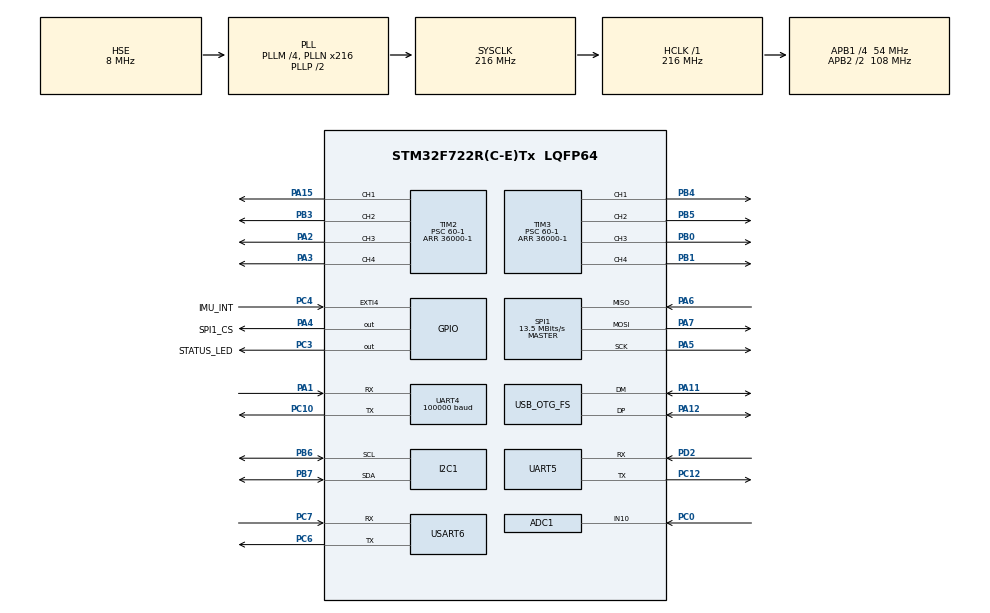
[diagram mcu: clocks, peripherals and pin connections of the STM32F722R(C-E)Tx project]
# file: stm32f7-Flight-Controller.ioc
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ADC1.Channel-5\#ChannelRegularConversion=ADC_CHANNEL_10
ADC1.ContinuousConvMode=ENABLE
ADC1.DMAContinuousRequests=ENABLE
ADC1.InjNumberOfConversion=0
ADC1.NbrOfConversionFlag=1
ADC1.Rank-5\#ChannelRegularConversion=1
ADC1.SamplingTime-5\#ChannelRegularConversion=ADC_SAMPLETIME_480CYCLES
ADC1.master=1
CORTEX_M7.default_mode_Activation=1
Dma.ADC1.2.Direction=DMA_PERIPH_TO_MEMORY
Dma.ADC1.2.FIFOMode=DMA_FIFOMODE_DISABLE
Dma.ADC1.2.Instance=DMA2_Stream4
Dma.ADC1.2.MemDataAlignment=DMA_MDATAALIGN_HALFWORD
Dma.ADC1.2.MemInc=DMA_MINC_ENABLE
Dma.ADC1.2.Mode=DMA_CIRCULAR
Dma.ADC1.2.PeriphDataAlignment=DMA_PDATAALIGN_HALFWORD
Dma.ADC1.2.PeriphInc=DMA_PINC_DISABLE
Dma.ADC1.2.Priority=DMA_PRIORITY_LOW
Dma.Request0=SPI1_RX
Dma.Request1=SPI1_TX
Dma.Request2=ADC1
Dma.Request3=UART4_RX
Dma.SPI1_RX.0.Direction=DMA_PERIPH_TO_MEMORY
Dma.SPI1_RX.0.FIFOMode=DMA_FIFOMODE_DISABLE
Dma.SPI1_RX.0.Instance=DMA2_Stream0
Dma.SPI1_RX.0.MemDataAlignment=DMA_MDATAALIGN_BYTE
Dma.SPI1_RX.0.MemInc=DMA_MINC_ENABLE
Dma.SPI1_RX.0.Mode=DMA_NORMAL
Dma.SPI1_RX.0.PeriphDataAlignment=DMA_PDATAALIGN_BYTE
Dma.SPI1_RX.0.PeriphInc=DMA_PINC_DISABLE
Dma.SPI1_RX.0.Priority=DMA_PRIORITY_LOW
Dma.SPI1_TX.1.Direction=DMA_MEMORY_TO_PERIPH
Dma.SPI1_TX.1.FIFOMode=DMA_FIFOMODE_DISABLE
Dma.SPI1_TX.1.Instance=DMA2_Stream3
Dma.SPI1_TX.1.MemDataAlignment=DMA_MDATAALIGN_BYTE
Dma.SPI1_TX.1.MemInc=DMA_MINC_ENABLE
Dma.SPI1_TX.1.Mode=DMA_NORMAL
Dma.SPI1_TX.1.PeriphDataAlignment=DMA_PDATAALIGN_BYTE
Dma.SPI1_TX.1.PeriphInc=DMA_PINC_DISABLE
Dma.SPI1_TX.1.Priority=DMA_PRIORITY_LOW
Dma.UART4_RX.3.Direction=DMA_PERIPH_TO_MEMORY
Dma.UART4_RX.3.FIFOMode=DMA_FIFOMODE_DISABLE
Dma.UART4_RX.3.Instance=DMA1_Stream2
Dma.UART4_RX.3.MemDataAlignment=DMA_MDATAALIGN_BYTE
Dma.UART4_RX.3.MemInc=DMA_MINC_ENABLE
Dma.UART4_RX.3.Mode=DMA_CIRCULAR
Dma.UART4_RX.3.PeriphDataAlignment=DMA_PDATAALIGN_BYTE
Dma.UART4_RX.3.PeriphInc=DMA_PINC_DISABLE
Dma.UART4_RX.3.Priority=DMA_PRIORITY_LOW
I2C1.Timing=0x20404768
Mcu.Family=STM32F7
Mcu.Name=STM32F722R(C-E)Tx
Mcu.Package=LQFP64
NVIC.DMA1_Stream2_IRQn=true\:0\:0\:false\:false\:true\:false\:true\:true
NVIC.DMA2_Stream0_IRQn=true\:0\:0\:false\:false\:true\:false\:true\:true
NVIC.DMA2_Stream3_IRQn=true\:0\:0\:false\:false\:true\:false\:true\:true
NVIC.DMA2_Stream4_IRQn=true\:0\:0\:false\:false\:true\:false\:true\:true
NVIC.EXTI4_IRQn=true\:0\:0\:false\:false\:true\:true\:true\:true
NVIC.OTG_FS_IRQn=true\:0\:0\:false\:false\:true\:false\:true\:true
NVIC.PriorityGroup=NVIC_PRIORITYGROUP_4
NVIC.SPI1_IRQn=true\:0\:0\:false\:false\:true\:true\:true\:true
NVIC.UART4_IRQn=true\:0\:0\:false\:false\:true\:true\:true\:true
PA1.Mode=Asynchronous
PA1.Signal=UART4_RX
PA11.Mode=Device_Only
PA11.Signal=USB_OTG_FS_DM
PA12.Mode=Device_Only
PA12.Signal=USB_OTG_FS_DP
PA13.Mode=Serial_Wire
PA13.Signal=SYS_JTMS-SWDIO
PA14.Mode=Serial_Wire
PA14.Signal=SYS_JTCK-SWCLK
PA15.Signal=S_TIM2_CH1_ETR
PA2.Signal=S_TIM2_CH3
PA3.Signal=S_TIM2_CH4
PA4.GPIO_Label=SPI1_CS
PA4.Signal=GPIO_Output
PA5.Mode=Full_Duplex_Master
PA5.Signal=SPI1_SCK
PA6.Mode=Full_Duplex_Master
PA6.Signal=SPI1_MISO
PA7.Mode=Full_Duplex_Master
PA7.Signal=SPI1_MOSI
PB0.Signal=S_TIM3_CH3
PB1.Signal=S_TIM3_CH4
PB3.Signal=S_TIM2_CH2
PB4.Signal=S_TIM3_CH1
PB5.Signal=S_TIM3_CH2
PB6.Mode=I2C
PB6.Signal=I2C1_SCL
PB7.Mode=I2C
PB7.Signal=I2C1_SDA
PC0.GPIO_Mode=GPIO_MODE_ANALOG
PC0.GPIO_PuPd=GPIO_NOPULL
PC0.Signal=ADCx_IN10
PC10.Mode=Asynchronous
PC10.Signal=UART4_TX
PC12.Mode=Asynchronous
PC12.Signal=UART5_TX
PC3.GPIO_Label=STATUS_LED
PC3.Signal=GPIO_Output
PC4.GPIO_Label=IMU_INT
PC4.GPIO_ModeDefaultEXTI=GPIO_MODE_IT_RISING
PC4.GPIO_PuPd=GPIO_NOPULL
PC4.Signal=GPXTI4
PC6.Mode=Asynchronous
PC6.Signal=USART6_TX
PC7.Mode=Asynchronous
PC7.Signal=USART6_RX
PD2.Mode=Asynchronous
PD2.Signal=UART5_RX
PH0-OSC_IN.Mode=HSE-External-Oscillator
PH0-OSC_IN.Signal=RCC_OSC_IN
PH1-OSC_OUT.Mode=HSE-External-Oscillator
PH1-OSC_OUT.Signal=RCC_OSC_OUT
ProjectManager.HeapSize=0x200
ProjectManager.StackSize=0x400
ProjectManager.TargetToolchain=STM32CubeIDE
RCC.AHBFreq_Value=216000000
RCC.APB1CLKDivider=RCC_HCLK_DIV4
RCC.APB1Freq_Value=54000000
RCC.APB1TimFreq_Value=108000000
RCC.APB2CLKDivider=RCC_HCLK_DIV2
RCC.APB2Freq_Value=108000000
RCC.APB2TimFreq_Value=216000000
RCC.CortexFreq_Value=216000000
RCC.HCLKFreq_Value=216000000
RCC.HSE_VALUE=8000000
RCC.HSI_VALUE=16000000
RCC.LSE_VALUE=32768
RCC.PLLM=4
RCC.PLLN=216
RCC.PLLQ=9
RCC.SYSCLKFreq_VALUE=216000000
RCC.SYSCLKSource=RCC_SYSCLKSOURCE_PLLCLK
RCC.USBFreq_Value=48000000
RCC.VCOOutputFreq_Value=432000000
SH.ADCx_IN10.0=ADC1_IN10,IN10
SH.S_TIM2_CH1_ETR.0=TIM2_CH1,PWM Generation1 CH1
SH.S_TIM2_CH2.0=TIM2_CH2,PWM Generation2 CH2
SH.S_TIM2_CH3.0=TIM2_CH3,PWM Generation3 CH3
SH.S_TIM2_CH4.0=TIM2_CH4,PWM Generation4 CH4
SH.S_TIM3_CH1.0=TIM3_CH1,PWM Generation1 CH1
SH.S_TIM3_CH2.0=TIM3_CH2,PWM Generation2 CH2
SH.S_TIM3_CH3.0=TIM3_CH3,PWM Generation3 CH3
SH.S_TIM3_CH4.0=TIM3_CH4,PWM Generation4 CH4
SPI1.BaudRatePrescaler=SPI_BAUDRATEPRESCALER_8
SPI1.CalculateBaudRate=13.5 MBits/s
SPI1.DataSize=SPI_DATASIZE_8BIT
SPI1.Direction=SPI_DIRECTION_2LINES
SPI1.Mode=SPI_MODE_MASTER
SPI1.VirtualType=VM_MASTER
TIM2.Channel-PWM\ Generation1\ CH1=TIM_CHANNEL_1
TIM2.Channel-PWM\ Generation2\ CH2=TIM_CHANNEL_2
TIM2.Channel-PWM\ Generation3\ CH3=TIM_CHANNEL_3
TIM2.Channel-PWM\ Generation4\ CH4=TIM_CHANNEL_4
TIM2.Period=36000-1
TIM2.Prescaler=60-1
TIM3.Channel-PWM\ Generation1\ CH1=TIM_CHANNEL_1
TIM3.Channel-PWM\ Generation2\ CH2=TIM_CHANNEL_2
TIM3.Channel-PWM\ Generation3\ CH3=TIM_CHANNEL_3
TIM3.Channel-PWM\ Generation4\ CH4=TIM_CHANNEL_4
TIM3.Period=36000-1
TIM3.Prescaler=60-1
UART4.BaudRate=100000
UART4.Mode=MODE_RX
UART4.Parity=PARITY_EVEN
UART4.RxPinLevelInvertParam=UART_ADVFEATURE_RXINV_ENABLE
UART4.StopBits=UART_STOPBITS_2
UART4.WordLength=WORDLENGTH_9B
USART6.VirtualMode=VM_ASYNC
USB_DEVICE.CLASS_NAME_FS=CDC
USB_DEVICE.VirtualMode-CDC_FS=Cdc
USB_DEVICE.VirtualModeFS=Cdc_FS
USB_OTG_FS.VirtualMode=Device_Only
VP_TIM2_VS_ClockSourceINT.Mode=Internal
VP_TIM3_VS_ClockSourceINT.Mode=Internal
VP_USB_DEVICE_VS_USB_DEVICE_CDC_FS.Mode=CDC_FS
board=custom

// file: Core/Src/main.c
/* USER CODE BEGIN Header */
/**
  ******************************************************************************
  * @file           : main.c
  * @brief          : Main program body
  ******************************************************************************
  * @attention
  *
  * Copyright (c) 2025 STMicroelectronics.
  * All rights reserved.
  *
  * This software is licensed under terms that can be found in the LICENSE file
  * in the root directory of this software component.
  * If no LICENSE file comes with this software, it is provided AS-IS.
  *
  ******************************************************************************
  */
/* USER CODE END Header */
#include "main.h"
#include "usb_device.h"

/* USER CODE BEGIN Includes */

#include <math.h>
#include "usbd_cdc_if.h"
#include "ICM42688P.h"
#include "Outputs.h"
#include "Sbus.h"
//#include "Quaternion.h"
#include "Flight_Modes.h"
#include "AHRS.h"
#include "PIDs.h"
#include "Battery.h"
#include "Parameters.h"
#include "USB.h"

/* USER CODE END Includes */

/* USER CODE BEGIN PD */

#define DELTA_T 0.01

/* USER CODE END PD */

ADC_HandleTypeDef hadc1;
DMA_HandleTypeDef hdma_adc1;

I2C_HandleTypeDef hi2c1;

SPI_HandleTypeDef hspi1;
DMA_HandleTypeDef hdma_spi1_rx;
DMA_HandleTypeDef hdma_spi1_tx;

TIM_HandleTypeDef htim2;
TIM_HandleTypeDef htim3;

UART_HandleTypeDef huart4;
UART_HandleTypeDef huart5;
UART_HandleTypeDef huart6;
DMA_HandleTypeDef hdma_uart4_rx;

void SystemClock_Config(void);
static void MPU_Config(void);
static void MX_GPIO_Init(void);
static void MX_DMA_Init(void);
static void MX_ADC1_Init(void);
static void MX_I2C1_Init(void);
static void MX_SPI1_Init(void);
static void MX_TIM2_Init(void);
static void MX_TIM3_Init(void);
static void MX_UART4_Init(void);
static void MX_UART5_Init(void);
static void MX_USART6_UART_Init(void);

/* USER CODE BEGIN 0 */

Sbus receiver;
ICM42688 imu;

extern Battery battery;

char usbBuffer[50];

extern Vec3 attitude;
extern Vec3 ref;
extern uint16_t outputs[8];
extern float functions[10];

extern Flight_Mode flight_mode;

uint32_t timer = 0;
extern Arming arming;
extern ParameterTable parameters, default_parameters;
extern uint8_t usbRxBuffer[20];

void HAL_UARTEx_RxEventCallback(UART_HandleTypeDef *huart, uint16_t Size){
	if(huart->Instance == huart4.Instance){

		if(receiver.buffer[0] == 0x0F && receiver.buffer[24] == 0x00) {
			Sbus_decode(&receiver);
			receiver.dataRdy = 1;
		}
		else{
			receiver.dataRdy = 0;
			HAL_UART_AbortReceive(&huart4);
			HAL_UARTEx_ReceiveToIdle_DMA(&huart4, receiver.buffer, 25);
		}
	}
}

void HAL_GPIO_EXTI_Callback(uint16_t GPIO_Pin){

	if(GPIO_Pin == IMU_INT_Pin){
		if(imu.ready){
			ICM42688_Read_DMA(&imu);
		}

	}

}

void HAL_SPI_TxRxCpltCallback(SPI_HandleTypeDef *hspi){
	if(hspi->Instance == hspi1.Instance){
		HAL_GPIO_WritePin(SPI1_CS_GPIO_Port, SPI1_CS_Pin, GPIO_PIN_SET);

		ICM42688_Process_Buffer(&imu);
		imu.dataRdy = 1;
	}
}

/* USER CODE END 0 */

int main(void)
{

  /* MPU Configuration--------------------------------------------------------*/
  MPU_Config();

  /* MCU Configuration--------------------------------------------------------*/

  /* Reset of all peripherals, Initializes the Flash interface and the Systick. */
  HAL_Init();

  /* Configure the system clock */
  SystemClock_Config();

  /* Initialize all configured peripherals */
  MX_GPIO_Init();
  MX_DMA_Init();
  MX_ADC1_Init();
  MX_I2C1_Init();
  MX_SPI1_Init();
  MX_TIM2_Init();
  MX_TIM3_Init();
  MX_UART4_Init();
  MX_UART5_Init();
  MX_USART6_UART_Init();
  MX_USB_DEVICE_Init();
  /* USER CODE BEGIN 2 */

  //Start Sbus Reception and Sync
  if(Sbus_Begin(&huart4, &receiver) != HAL_OK) {
	  Error_Handler();
  }

  //Start IMU, configure ranges, filters & interrupts
  if(ICM42688_Begin(&imu, &hspi1) != HAL_OK) {
	  Error_Handler();
  }

  //Start DMA Read for Vbat ADC
  if(Battery_Begin(&hadc1) != HAL_OK) {
	  Error_Handler();
  }

  //Configure output timers
  if(Output_Begin(&htim2, &htim3) != HAL_OK) {
	  Error_Handler();
  }

  //Load Parameters from FLASH
  if(Load_Parameters(&parameters) != HAL_OK){
	  Save_Parameters(&default_parameters);
	  if(Load_Parameters(&parameters) != HAL_OK){
		  Error_Handler();
	  }
  }

  /* USER CODE END 2 */

  /* Infinite loop */
  /* USER CODE BEGIN WHILE */
  while (1)
  {

	if ((HAL_GetTick() - timer) >= DELTA_T*1000) {

		Battery_Update();

		if(imu.dataRdy){

			AHRS_Update_Complementary_Filter(imu.gyro, imu.accel, 0.8, DELTA_T);

		}

		if(receiver.dataRdy){

			Process_Input(receiver);

			if(flight_mode == ACRO_MODE) Acro_Mode(receiver, DELTA_T);
			else if (flight_mode == STABILIZED_MODE) Stabilized_Mode(receiver, DELTA_T);
			else if(flight_mode == MANUAL_MODE) Manual_Mode(receiver);

		}

		Output_Update(&htim2, &htim3);

		timer += DELTA_T*1000;

	}

    /* USER CODE END WHILE */

  }
}

void SystemClock_Config(void)
{
  RCC_OscInitTypeDef RCC_OscInitStruct = {0};
  RCC_ClkInitTypeDef RCC_ClkInitStruct = {0};

  /** Configure the main internal regulator output voltage
  */
  __HAL_RCC_PWR_CLK_ENABLE();
  __HAL_PWR_VOLTAGESCALING_CONFIG(PWR_REGULATOR_VOLTAGE_SCALE1);

  /** Initializes the RCC Oscillators according to the specified parameters
  * in the RCC_OscInitTypeDef structure.
  */
  RCC_OscInitStruct.OscillatorType = RCC_OSCILLATORTYPE_HSE;
  RCC_OscInitStruct.HSEState = RCC_HSE_ON;
  RCC_OscInitStruct.PLL.PLLState = RCC_PLL_ON;
  RCC_OscInitStruct.PLL.PLLSource = RCC_PLLSOURCE_HSE;
  RCC_OscInitStruct.PLL.PLLM = 4;
  RCC_OscInitStruct.PLL.PLLN = 216;
  RCC_OscInitStruct.PLL.PLLP = RCC_PLLP_DIV2;
  RCC_OscInitStruct.PLL.PLLQ = 9;
  if (HAL_RCC_OscConfig(&RCC_OscInitStruct) != HAL_OK)
  {
    Error_Handler();
  }

  /** Activate the Over-Drive mode
  */
  if (HAL_PWREx_EnableOverDrive() != HAL_OK)
  {
    Error_Handler();
  }

  /** Initializes the CPU, AHB and APB buses clocks
  */
  RCC_ClkInitStruct.ClockType = RCC_CLOCKTYPE_HCLK|RCC_CLOCKTYPE_SYSCLK
                              |RCC_CLOCKTYPE_PCLK1|RCC_CLOCKTYPE_PCLK2;
  RCC_ClkInitStruct.SYSCLKSource = RCC_SYSCLKSOURCE_PLLCLK;
  RCC_ClkInitStruct.AHBCLKDivider = RCC_SYSCLK_DIV1;
  RCC_ClkInitStruct.APB1CLKDivider = RCC_HCLK_DIV4;
  RCC_ClkInitStruct.APB2CLKDivider = RCC_HCLK_DIV2;

  if (HAL_RCC_ClockConfig(&RCC_ClkInitStruct, FLASH_LATENCY_7) != HAL_OK)
  {
    Error_Handler();
  }
}

static void MX_ADC1_Init(void)
{

  ADC_ChannelConfTypeDef sConfig = {0};

  /** Configure the global features of the ADC (Clock, Resolution, Data Alignment and number of conversion)
  */
  hadc1.Instance = ADC1;
  hadc1.Init.ClockPrescaler = ADC_CLOCK_SYNC_PCLK_DIV4;
  hadc1.Init.Resolution = ADC_RESOLUTION_12B;
  hadc1.Init.ScanConvMode = ADC_SCAN_DISABLE;
  hadc1.Init.ContinuousConvMode = ENABLE;
  hadc1.Init.DiscontinuousConvMode = DISABLE;
  hadc1.Init.ExternalTrigConvEdge = ADC_EXTERNALTRIGCONVEDGE_NONE;
  hadc1.Init.ExternalTrigConv = ADC_SOFTWARE_START;
  hadc1.Init.DataAlign = ADC_DATAALIGN_RIGHT;
  hadc1.Init.NbrOfConversion = 1;
  hadc1.Init.DMAContinuousRequests = ENABLE;
  hadc1.Init.EOCSelection = ADC_EOC_SINGLE_CONV;
  if (HAL_ADC_Init(&hadc1) != HAL_OK)
  {
    Error_Handler();
  }

  /** Configure for the selected ADC regular channel its corresponding rank in the sequencer and its sample time.
  */
  sConfig.Channel = ADC_CHANNEL_10;
  sConfig.Rank = ADC_REGULAR_RANK_1;
  sConfig.SamplingTime = ADC_SAMPLETIME_480CYCLES;
  if (HAL_ADC_ConfigChannel(&hadc1, &sConfig) != HAL_OK)
  {
    Error_Handler();
  }

}

static void MX_I2C1_Init(void)
{

  hi2c1.Instance = I2C1;
  hi2c1.Init.Timing = 0x20404768;
  hi2c1.Init.OwnAddress1 = 0;
  hi2c1.Init.AddressingMode = I2C_ADDRESSINGMODE_7BIT;
  hi2c1.Init.DualAddressMode = I2C_DUALADDRESS_DISABLE;
  hi2c1.Init.OwnAddress2 = 0;
  hi2c1.Init.OwnAddress2Masks = I2C_OA2_NOMASK;
  hi2c1.Init.GeneralCallMode = I2C_GENERALCALL_DISABLE;
  hi2c1.Init.NoStretchMode = I2C_NOSTRETCH_DISABLE;
  if (HAL_I2C_Init(&hi2c1) != HAL_OK)
  {
    Error_Handler();
  }

  /** Configure Analogue filter
  */
  if (HAL_I2CEx_ConfigAnalogFilter(&hi2c1, I2C_ANALOGFILTER_ENABLE) != HAL_OK)
  {
    Error_Handler();
  }

  /** Configure Digital filter
  */
  if (HAL_I2CEx_ConfigDigitalFilter(&hi2c1, 0) != HAL_OK)
  {
    Error_Handler();
  }

}

static void MX_SPI1_Init(void)
{

  /* SPI1 parameter configuration*/
  hspi1.Instance = SPI1;
  hspi1.Init.Mode = SPI_MODE_MASTER;
  hspi1.Init.Direction = SPI_DIRECTION_2LINES;
  hspi1.Init.DataSize = SPI_DATASIZE_8BIT;
  hspi1.Init.CLKPolarity = SPI_POLARITY_LOW;
  hspi1.Init.CLKPhase = SPI_PHASE_1EDGE;
  hspi1.Init.NSS = SPI_NSS_SOFT;
  hspi1.Init.BaudRatePrescaler = SPI_BAUDRATEPRESCALER_8;
  hspi1.Init.FirstBit = SPI_FIRSTBIT_MSB;
  hspi1.Init.TIMode = SPI_TIMODE_DISABLE;
  hspi1.Init.CRCCalculation = SPI_CRCCALCULATION_DISABLE;
  hspi1.Init.CRCPolynomial = 7;
  hspi1.Init.CRCLength = SPI_CRC_LENGTH_DATASIZE;
  hspi1.Init.NSSPMode = SPI_NSS_PULSE_ENABLE;
  if (HAL_SPI_Init(&hspi1) != HAL_OK)
  {
    Error_Handler();
  }

}

static void MX_TIM2_Init(void)
{

  TIM_ClockConfigTypeDef sClockSourceConfig = {0};
  TIM_MasterConfigTypeDef sMasterConfig = {0};
  TIM_OC_InitTypeDef sConfigOC = {0};

  htim2.Instance = TIM2;
  htim2.Init.Prescaler = 60-1;
  htim2.Init.CounterMode = TIM_COUNTERMODE_UP;
  htim2.Init.Period = 36000-1;
  htim2.Init.ClockDivision = TIM_CLOCKDIVISION_DIV1;
  htim2.Init.AutoReloadPreload = TIM_AUTORELOAD_PRELOAD_DISABLE;
  if (HAL_TIM_Base_Init(&htim2) != HAL_OK)
  {
    Error_Handler();
  }
  sClockSourceConfig.ClockSource = TIM_CLOCKSOURCE_INTERNAL;
  if (HAL_TIM_ConfigClockSource(&htim2, &sClockSourceConfig) != HAL_OK)
  {
    Error_Handler();
  }
  if (HAL_TIM_PWM_Init(&htim2) != HAL_OK)
  {
    Error_Handler();
  }
  sMasterConfig.MasterOutputTrigger = TIM_TRGO_RESET;
  sMasterConfig.MasterSlaveMode = TIM_MASTERSLAVEMODE_DISABLE;
  if (HAL_TIMEx_MasterConfigSynchronization(&htim2, &sMasterConfig) != HAL_OK)
  {
    Error_Handler();
  }
  sConfigOC.OCMode = TIM_OCMODE_PWM1;
  sConfigOC.Pulse = 0;
  sConfigOC.OCPolarity = TIM_OCPOLARITY_HIGH;
  sConfigOC.OCFastMode = TIM_OCFAST_DISABLE;
  if (HAL_TIM_PWM_ConfigChannel(&htim2, &sConfigOC, TIM_CHANNEL_1) != HAL_OK)
  {
    Error_Handler();
  }
  if (HAL_TIM_PWM_ConfigChannel(&htim2, &sConfigOC, TIM_CHANNEL_2) != HAL_OK)
  {
    Error_Handler();
  }
  if (HAL_TIM_PWM_ConfigChannel(&htim2, &sConfigOC, TIM_CHANNEL_3) != HAL_OK)
  {
    Error_Handler();
  }
  if (HAL_TIM_PWM_ConfigChannel(&htim2, &sConfigOC, TIM_CHANNEL_4) != HAL_OK)
  {
    Error_Handler();
  }
  HAL_TIM_MspPostInit(&htim2);

}

static void MX_TIM3_Init(void)
{

  TIM_ClockConfigTypeDef sClockSourceConfig = {0};
  TIM_MasterConfigTypeDef sMasterConfig = {0};
  TIM_OC_InitTypeDef sConfigOC = {0};

  htim3.Instance = TIM3;
  htim3.Init.Prescaler = 60-1;
  htim3.Init.CounterMode = TIM_COUNTERMODE_UP;
  htim3.Init.Period = 36000-1;
  htim3.Init.ClockDivision = TIM_CLOCKDIVISION_DIV1;
  htim3.Init.AutoReloadPreload = TIM_AUTORELOAD_PRELOAD_DISABLE;
  if (HAL_TIM_Base_Init(&htim3) != HAL_OK)
  {
    Error_Handler();
  }
  sClockSourceConfig.ClockSource = TIM_CLOCKSOURCE_INTERNAL;
  if (HAL_TIM_ConfigClockSource(&htim3, &sClockSourceConfig) != HAL_OK)
  {
    Error_Handler();
  }
  if (HAL_TIM_PWM_Init(&htim3) != HAL_OK)
  {
    Error_Handler();
  }
  sMasterConfig.MasterOutputTrigger = TIM_TRGO_RESET;
  sMasterConfig.MasterSlaveMode = TIM_MASTERSLAVEMODE_DISABLE;
  if (HAL_TIMEx_MasterConfigSynchronization(&htim3, &sMasterConfig) != HAL_OK)
  {
    Error_Handler();
  }
  sConfigOC.OCMode = TIM_OCMODE_PWM1;
  sConfigOC.Pulse = 0;
  sConfigOC.OCPolarity = TIM_OCPOLARITY_HIGH;
  sConfigOC.OCFastMode = TIM_OCFAST_DISABLE;
  if (HAL_TIM_PWM_ConfigChannel(&htim3, &sConfigOC, TIM_CHANNEL_1) != HAL_OK)
  {
    Error_Handler();
  }
  if (HAL_TIM_PWM_ConfigChannel(&htim3, &sConfigOC, TIM_CHANNEL_2) != HAL_OK)
  {
    Error_Handler();
  }
  if (HAL_TIM_PWM_ConfigChannel(&htim3, &sConfigOC, TIM_CHANNEL_3) != HAL_OK)
  {
    Error_Handler();
  }
  if (HAL_TIM_PWM_ConfigChannel(&htim3, &sConfigOC, TIM_CHANNEL_4) != HAL_OK)
  {
    Error_Handler();
  }
  HAL_TIM_MspPostInit(&htim3);

}

static void MX_UART4_Init(void)
{

  huart4.Instance = UART4;
  huart4.Init.BaudRate = 100000;
  huart4.Init.WordLength = UART_WORDLENGTH_9B;
  huart4.Init.StopBits = UART_STOPBITS_2;
  huart4.Init.Parity = UART_PARITY_EVEN;
  huart4.Init.Mode = UART_MODE_RX;
  huart4.Init.HwFlowCtl = UART_HWCONTROL_NONE;
  huart4.Init.OverSampling = UART_OVERSAMPLING_16;
  huart4.Init.OneBitSampling = UART_ONE_BIT_SAMPLE_DISABLE;
  huart4.AdvancedInit.AdvFeatureInit = UART_ADVFEATURE_RXINVERT_INIT;
  huart4.AdvancedInit.RxPinLevelInvert = UART_ADVFEATURE_RXINV_ENABLE;
  if (HAL_UART_Init(&huart4) != HAL_OK)
  {
    Error_Handler();
  }

}

static void MX_UART5_Init(void)
{

  huart5.Instance = UART5;
  huart5.Init.BaudRate = 115200;
  huart5.Init.WordLength = UART_WORDLENGTH_8B;
  huart5.Init.StopBits = UART_STOPBITS_1;
  huart5.Init.Parity = UART_PARITY_NONE;
  huart5.Init.Mode = UART_MODE_TX_RX;
  huart5.Init.HwFlowCtl = UART_HWCONTROL_NONE;
  huart5.Init.OverSampling = UART_OVERSAMPLING_16;
  huart5.Init.OneBitSampling = UART_ONE_BIT_SAMPLE_DISABLE;
  huart5.AdvancedInit.AdvFeatureInit = UART_ADVFEATURE_NO_INIT;
  if (HAL_UART_Init(&huart5) != HAL_OK)
  {
    Error_Handler();
  }

}

static void MX_USART6_UART_Init(void)
{

  huart6.Instance = USART6;
  huart6.Init.BaudRate = 115200;
  huart6.Init.WordLength = UART_WORDLENGTH_8B;
  huart6.Init.StopBits = UART_STOPBITS_1;
  huart6.Init.Parity = UART_PARITY_NONE;
  huart6.Init.Mode = UART_MODE_TX_RX;
  huart6.Init.HwFlowCtl = UART_HWCONTROL_NONE;
  huart6.Init.OverSampling = UART_OVERSAMPLING_16;
  huart6.Init.OneBitSampling = UART_ONE_BIT_SAMPLE_DISABLE;
  huart6.AdvancedInit.AdvFeatureInit = UART_ADVFEATURE_NO_INIT;
  if (HAL_UART_Init(&huart6) != HAL_OK)
  {
    Error_Handler();
  }

}

static void MX_DMA_Init(void)
{

  /* DMA controller clock enable */
  __HAL_RCC_DMA2_CLK_ENABLE();
  __HAL_RCC_DMA1_CLK_ENABLE();

  /* DMA interrupt init */
  /* DMA1_Stream2_IRQn interrupt configuration */
  HAL_NVIC_SetPriority(DMA1_Stream2_IRQn, 0, 0);
  HAL_NVIC_EnableIRQ(DMA1_Stream2_IRQn);
  /* DMA2_Stream0_IRQn interrupt configuration */
  HAL_NVIC_SetPriority(DMA2_Stream0_IRQn, 0, 0);
  HAL_NVIC_EnableIRQ(DMA2_Stream0_IRQn);
  /* DMA2_Stream3_IRQn interrupt configuration */
  HAL_NVIC_SetPriority(DMA2_Stream3_IRQn, 0, 0);
  HAL_NVIC_EnableIRQ(DMA2_Stream3_IRQn);
  /* DMA2_Stream4_IRQn interrupt configuration */
  HAL_NVIC_SetPriority(DMA2_Stream4_IRQn, 0, 0);
  HAL_NVIC_EnableIRQ(DMA2_Stream4_IRQn);

}

static void MX_GPIO_Init(void)
{
  GPIO_InitTypeDef GPIO_InitStruct = {0};

  /* GPIO Ports Clock Enable */
  __HAL_RCC_GPIOH_CLK_ENABLE();
  __HAL_RCC_GPIOC_CLK_ENABLE();
  __HAL_RCC_GPIOA_CLK_ENABLE();
  __HAL_RCC_GPIOB_CLK_ENABLE();
  __HAL_RCC_GPIOD_CLK_ENABLE();

  /*Configure GPIO pin Output Level */
  HAL_GPIO_WritePin(STATUS_LED_GPIO_Port, STATUS_LED_Pin, GPIO_PIN_RESET);

  /*Configure GPIO pin Output Level */
  HAL_GPIO_WritePin(SPI1_CS_GPIO_Port, SPI1_CS_Pin, GPIO_PIN_RESET);

  /*Configure GPIO pin : STATUS_LED_Pin */
  GPIO_InitStruct.Pin = STATUS_LED_Pin;
  GPIO_InitStruct.Mode = GPIO_MODE_OUTPUT_PP;
  GPIO_InitStruct.Pull = GPIO_NOPULL;
  GPIO_InitStruct.Speed = GPIO_SPEED_FREQ_LOW;
  HAL_GPIO_Init(STATUS_LED_GPIO_Port, &GPIO_InitStruct);

  /*Configure GPIO pin : SPI1_CS_Pin */
  GPIO_InitStruct.Pin = SPI1_CS_Pin;
  GPIO_InitStruct.Mode = GPIO_MODE_OUTPUT_PP;
  GPIO_InitStruct.Pull = GPIO_NOPULL;
  GPIO_InitStruct.Speed = GPIO_SPEED_FREQ_LOW;
  HAL_GPIO_Init(SPI1_CS_GPIO_Port, &GPIO_InitStruct);

  /*Configure GPIO pin : IMU_INT_Pin */
  GPIO_InitStruct.Pin = IMU_INT_Pin;
  GPIO_InitStruct.Mode = GPIO_MODE_IT_RISING;
  GPIO_InitStruct.Pull = GPIO_NOPULL;
  HAL_GPIO_Init(IMU_INT_GPIO_Port, &GPIO_InitStruct);

  /* EXTI interrupt init*/
  HAL_NVIC_SetPriority(EXTI4_IRQn, 0, 0);
  HAL_NVIC_EnableIRQ(EXTI4_IRQn);

}

 /* MPU Configuration */

void MPU_Config(void)
{
  MPU_Region_InitTypeDef MPU_InitStruct = {0};

  /* Disables the MPU */
  HAL_MPU_Disable();

  /** Initializes and configures the Region and the memory to be protected
  */
  MPU_InitStruct.Enable = MPU_REGION_ENABLE;
  MPU_InitStruct.Number = MPU_REGION_NUMBER0;
  MPU_InitStruct.BaseAddress = 0x0;
  MPU_InitStruct.Size = MPU_REGION_SIZE_4GB;
  MPU_InitStruct.SubRegionDisable = 0x87;
  MPU_InitStruct.TypeExtField = MPU_TEX_LEVEL0;
  MPU_InitStruct.AccessPermission = MPU_REGION_NO_ACCESS;
  MPU_InitStruct.DisableExec = MPU_INSTRUCTION_ACCESS_DISABLE;
  MPU_InitStruct.IsShareable = MPU_ACCESS_SHAREABLE;
  MPU_InitStruct.IsCacheable = MPU_ACCESS_NOT_CACHEABLE;
  MPU_InitStruct.IsBufferable = MPU_ACCESS_NOT_BUFFERABLE;

  HAL_MPU_ConfigRegion(&MPU_InitStruct);
  /* Enables the MPU */
  HAL_MPU_Enable(MPU_PRIVILEGED_DEFAULT);

}

void Error_Handler(void)
{
  /* USER CODE BEGIN Error_Handler_Debug */
  /* User can add his own implementation to report the HAL error return state */
  __disable_irq();
  while (1)
  {
	  HAL_GPIO_TogglePin(STATUS_LED_GPIO_Port, STATUS_LED_Pin); //LED BLINK
	  for(int i = 0; i < 1000000; i++){
		  __NOP();
	  }
  }
  /* USER CODE END Error_Handler_Debug */
}
